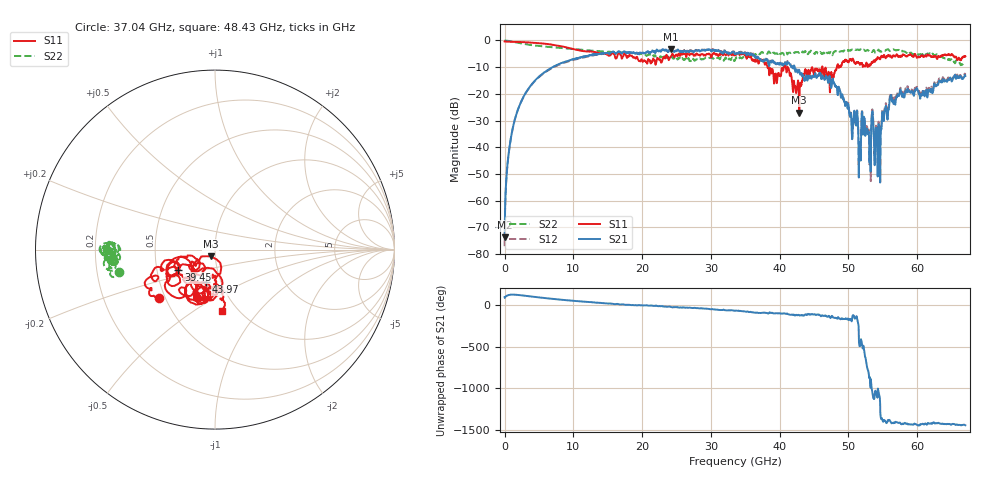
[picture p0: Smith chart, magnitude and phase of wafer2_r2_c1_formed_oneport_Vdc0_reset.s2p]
!Keysight Technologies,N5227A,US51270248,A.10.65.08
!Date: Tuesday, June 11, 2024 08:02:14
!Correction: S11(Full 2 Port(1,4))
!S41(Full 2 Port(1,4))
!S14(Full 2 Port(1,4))
!S44(Full 2 Port(1,4))
!S2P File: Measurements: S11, S41, S14, S44:
# Hz S  dB  R 50
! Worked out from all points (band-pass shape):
!   3201 points, 10 MHz to 67 GHz, reference 50 ohm
!   highest |S21| = -3.25 dB at 24.19 GHz (marker M1); lowest = -73.7 dB at 10 MHz (marker M2)
!   |S21| within 3 dB of the highest: 11.25 GHz to 36.41 GHz (25.16 GHz wide, 106 % of centre); 36.42177 GHz to 36.56496 GHz (143.2 MHz wide, 0.392 % of centre)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
!   lowest |S11| = -27.1 dB at 42.84 GHz (marker M3), VSWR 1.09, Z = 47.6 - j3.57 ohm
!   |S11| at or under -10 dB: 38.36 GHz to 40.59 GHz (2.224 GHz wide, 5.63 % of centre); 41.17 GHz to 46.14 GHz (4.971 GHz wide, 11.4 % of centre); 46.24 GHz to 48.33 GHz (2.086 GHz wide, 4.41 % of centre)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
!   |S22| runs from -9.3 to 0.0 dB; largest |S21 - S12| = 0.052
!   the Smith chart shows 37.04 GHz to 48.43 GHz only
!   S11 on the Smith chart (normalised r, x): 37.04 GHz: 0.46, -0.30; 39.45 GHz: 0.65, -0.15; 43.97 GHz: 0.85, -0.32; 48.43 GHz: 0.85, -0.66
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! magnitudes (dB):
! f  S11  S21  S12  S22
! 10 MHz  -0.4  -73.7  -77.0  0.0
! 428.7 MHz  -0.5  -46.3  -46.5  -0.1
! 805.5 MHz  -0.5  -38.4  -38.6  -0.3
! 2.522 GHz  -0.6  -22.3  -22.4  -1.2
! 11.19 GHz  -3.9  -6.2  -6.6  -3.5
! 22.35 GHz  -6.9  -3.9  -3.9  -5.9
! 24.19 GHz  -5.9  -3.3  -3.3  -6.5
! 33.51 GHz  -5.5  -5.1  -5.0  -7.3
! 37.04 GHz  -7.7  -6.8  -7.0  -5.2
! 39.45 GHz  -12.7  -8.8  -8.8  -4.8
! 40.94 GHz  -10.7  -8.9  -8.8  -4.6
! 42.84 GHz  -27.1  -11.3  -11.2  -4.5
! 43.97 GHz  -14.4  -14.6  -14.1  -4.3
! 44.68 GHz  -10.2  -13.8  -13.5  -4.4
! 48.43 GHz  -9.3  -20.3  -20.3  -4.3
! 51.09 GHz  -8.6  -31.5  -31.6  -3.5
! 51.53 GHz  -8.5  -42.7  -42.1  -3.6
! 52.2 GHz  -9.3  -29.4  -29.2  -3.5
! 52.95 GHz  -9.1  -34.3  -34.1  -3.9
! 54.5 GHz  -6.5  -33.1  -32.6  -4.0
! 55.84 GHz  -5.6  -25.8  -25.0  -3.5
! 67 GHz  -6.0  -13.3  -12.8  -8.7
